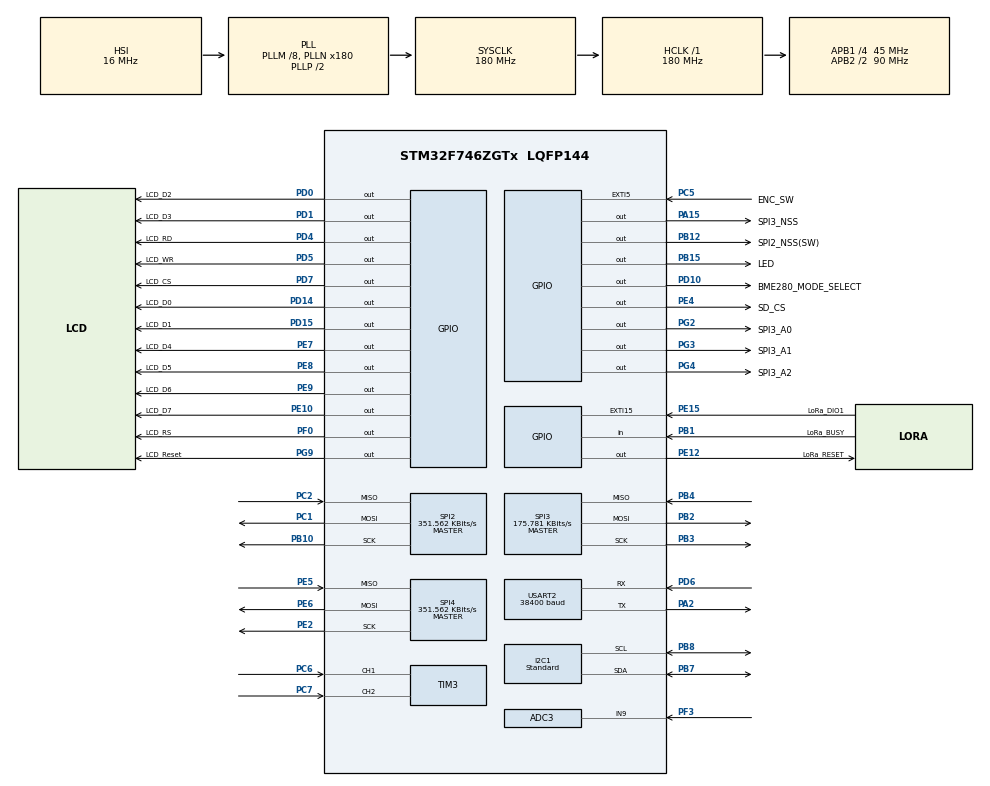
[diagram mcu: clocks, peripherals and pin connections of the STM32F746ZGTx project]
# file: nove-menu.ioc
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ADC3.Channel-0\#ChannelRegularConversion=ADC_CHANNEL_9
ADC3.ClockPrescaler=ADC_CLOCK_SYNC_PCLK_DIV4
ADC3.NbrOfConversionFlag=1
ADC3.Rank-0\#ChannelRegularConversion=1
ADC3.SamplingTime-0\#ChannelRegularConversion=ADC_SAMPLETIME_3CYCLES
CORTEX_M7.default_mode_Activation=1
I2C1.I2C_Speed_Mode=I2C_Standard
I2C1.Timing=0xC0000E12
Mcu.Family=STM32F7
Mcu.Name=STM32F746ZGTx
Mcu.Package=LQFP144
NVIC.EXTI15_10_IRQn=true\:0\:0\:false\:false\:true\:true\:true\:true
NVIC.EXTI9_5_IRQn=true\:0\:0\:false\:false\:true\:true\:true\:true
NVIC.PriorityGroup=NVIC_PRIORITYGROUP_4
NVIC.TIM1_TRG_COM_TIM11_IRQn=true\:0\:0\:false\:false\:true\:true\:true\:true
NVIC.TIM2_IRQn=true\:0\:0\:false\:false\:true\:true\:true\:true
NVIC.USART2_IRQn=true\:0\:0\:false\:false\:true\:true\:true\:true
PA15.GPIO_Label=SPI3_NSS
PA15.Signal=GPIO_Output
PA2.Mode=Asynchronous
PA2.Signal=USART2_TX
PB1.GPIO_Label=LoRa_BUSY
PB1.Signal=GPIO_Input
PB10.Mode=Full_Duplex_Master
PB10.Signal=SPI2_SCK
PB12.GPIO_Label=SPI2_NSS(SW)
PB12.Signal=GPIO_Output
PB15.GPIO_Label=LED
PB15.Signal=GPIO_Output
PB2.Mode=Full_Duplex_Master
PB2.Signal=SPI3_MOSI
PB3.Mode=Full_Duplex_Master
PB3.Signal=SPI3_SCK
PB4.Mode=Full_Duplex_Master
PB4.Signal=SPI3_MISO
PB7.Mode=I2C
PB7.Signal=I2C1_SDA
PB8.Mode=I2C
PB8.Signal=I2C1_SCL
PC1.Mode=Full_Duplex_Master
PC1.Signal=SPI2_MOSI
PC2.Mode=Full_Duplex_Master
PC2.Signal=SPI2_MISO
PC5.GPIO_Label=ENC_SW
PC5.GPIO_ModeDefaultEXTI=GPIO_MODE_IT_FALLING
PC5.GPIO_PuPd=GPIO_PULLUP
PC5.Signal=GPXTI5
PC6.Signal=S_TIM3_CH1
PC7.Signal=S_TIM3_CH2
PD0.GPIO_Label=LCD_D2
PD0.GPIO_ModeDefaultOutputPP=GPIO_MODE_OUTPUT_PP
PD0.GPIO_PuPd=GPIO_NOPULL
PD0.GPIO_Speed=GPIO_SPEED_FREQ_VERY_HIGH
PD0.PinState=GPIO_PIN_SET
PD0.Signal=GPIO_Output
PD1.GPIO_Label=LCD_D3
PD1.GPIO_ModeDefaultOutputPP=GPIO_MODE_OUTPUT_PP
PD1.GPIO_PuPd=GPIO_NOPULL
PD1.GPIO_Speed=GPIO_SPEED_FREQ_VERY_HIGH
PD1.PinState=GPIO_PIN_SET
PD1.Signal=GPIO_Output
PD10.GPIO_Label=BME280_MODE_SELECT
PD10.Signal=GPIO_Output
PD14.GPIO_Label=LCD_D0
PD14.GPIO_ModeDefaultOutputPP=GPIO_MODE_OUTPUT_PP
PD14.GPIO_PuPd=GPIO_NOPULL
PD14.GPIO_Speed=GPIO_SPEED_FREQ_VERY_HIGH
PD14.PinState=GPIO_PIN_SET
PD14.Signal=GPIO_Output
PD15.GPIO_Label=LCD_D1
PD15.GPIO_ModeDefaultOutputPP=GPIO_MODE_OUTPUT_PP
PD15.GPIO_PuPd=GPIO_NOPULL
PD15.GPIO_Speed=GPIO_SPEED_FREQ_VERY_HIGH
PD15.PinState=GPIO_PIN_SET
PD15.Signal=GPIO_Output
PD4.GPIO_Label=LCD_RD
PD4.GPIO_ModeDefaultOutputPP=GPIO_MODE_OUTPUT_PP
PD4.GPIO_PuPd=GPIO_NOPULL
PD4.GPIO_Speed=GPIO_SPEED_FREQ_VERY_HIGH
PD4.PinState=GPIO_PIN_SET
PD4.Signal=GPIO_Output
PD5.GPIO_Label=LCD_WR
PD5.GPIO_ModeDefaultOutputPP=GPIO_MODE_OUTPUT_PP
PD5.GPIO_PuPd=GPIO_NOPULL
PD5.GPIO_Speed=GPIO_SPEED_FREQ_VERY_HIGH
PD5.PinState=GPIO_PIN_SET
PD5.Signal=GPIO_Output
PD6.Mode=Asynchronous
PD6.Signal=USART2_RX
PD7.GPIO_Label=LCD_CS
PD7.GPIO_ModeDefaultOutputPP=GPIO_MODE_OUTPUT_PP
PD7.GPIO_PuPd=GPIO_NOPULL
PD7.GPIO_Speed=GPIO_SPEED_FREQ_VERY_HIGH
PD7.PinState=GPIO_PIN_SET
PD7.Signal=GPIO_Output
PE10.GPIO_Label=LCD_D7
PE10.GPIO_ModeDefaultOutputPP=GPIO_MODE_OUTPUT_PP
PE10.GPIO_PuPd=GPIO_NOPULL
PE10.GPIO_Speed=GPIO_SPEED_FREQ_VERY_HIGH
PE10.PinState=GPIO_PIN_SET
PE10.Signal=GPIO_Output
PE12.GPIO_Label=LoRa_RESET
PE12.Signal=GPIO_Output
PE15.GPIO_Label=LoRa_DIO1
PE15.GPIO_ModeDefaultEXTI=GPIO_MODE_IT_RISING
PE15.GPIO_PuPd=GPIO_NOPULL
PE15.Signal=GPXTI15
PE2.GPIO_PuPd=GPIO_PULLUP
PE2.Mode=Full_Duplex_Master
PE2.Signal=SPI4_SCK
PE4.GPIO_Label=SD_CS
PE4.GPIO_PuPd=GPIO_PULLUP
PE4.PinState=GPIO_PIN_SET
PE4.Signal=GPIO_Output
PE5.GPIO_PuPd=GPIO_PULLUP
PE5.Mode=Full_Duplex_Master
PE5.Signal=SPI4_MISO
PE6.GPIO_PuPd=GPIO_PULLUP
PE6.Mode=Full_Duplex_Master
PE6.Signal=SPI4_MOSI
PE7.GPIO_Label=LCD_D4
PE7.GPIO_ModeDefaultOutputPP=GPIO_MODE_OUTPUT_PP
PE7.GPIO_PuPd=GPIO_NOPULL
PE7.GPIO_Speed=GPIO_SPEED_FREQ_VERY_HIGH
PE7.PinState=GPIO_PIN_SET
PE7.Signal=GPIO_Output
PE8.GPIO_Label=LCD_D5
PE8.GPIO_ModeDefaultOutputPP=GPIO_MODE_OUTPUT_PP
PE8.GPIO_PuPd=GPIO_NOPULL
PE8.GPIO_Speed=GPIO_SPEED_FREQ_VERY_HIGH
PE8.PinState=GPIO_PIN_SET
PE8.Signal=GPIO_Output
PE9.GPIO_Label=LCD_D6
PE9.GPIO_ModeDefaultOutputPP=GPIO_MODE_OUTPUT_PP
PE9.GPIO_PuPd=GPIO_NOPULL
PE9.GPIO_Speed=GPIO_SPEED_FREQ_VERY_HIGH
PE9.PinState=GPIO_PIN_SET
PE9.Signal=GPIO_Output
PF0.GPIO_Label=LCD_RS
PF0.GPIO_ModeDefaultOutputPP=GPIO_MODE_OUTPUT_PP
PF0.GPIO_PuPd=GPIO_NOPULL
PF0.GPIO_Speed=GPIO_SPEED_FREQ_VERY_HIGH
PF0.PinState=GPIO_PIN_SET
PF0.Signal=GPIO_Output
PF3.Mode=IN9
PF3.Signal=ADC3_IN9
PG2.GPIO_Label=SPI3_A0
PG2.Signal=GPIO_Output
PG3.GPIO_Label=SPI3_A1
PG3.Signal=GPIO_Output
PG4.GPIO_Label=SPI3_A2
PG4.Signal=GPIO_Output
PG9.GPIO_Label=LCD_Reset
PG9.GPIO_ModeDefaultOutputPP=GPIO_MODE_OUTPUT_PP
PG9.GPIO_PuPd=GPIO_NOPULL
PG9.GPIO_Speed=GPIO_SPEED_FREQ_VERY_HIGH
PG9.PinState=GPIO_PIN_SET
PG9.Signal=GPIO_Output
ProjectManager.HeapSize=0x200
ProjectManager.StackSize=0x400
ProjectManager.TargetToolchain=STM32CubeIDE
RCC.AHBFreq_Value=180000000
RCC.APB1CLKDivider=RCC_HCLK_DIV4
RCC.APB1Freq_Value=45000000
RCC.APB1TimFreq_Value=90000000
RCC.APB2CLKDivider=RCC_HCLK_DIV2
RCC.APB2Freq_Value=90000000
RCC.APB2TimFreq_Value=180000000
RCC.CortexFreq_Value=180000000
RCC.HCLKFreq_Value=180000000
RCC.HSE_VALUE=25000000
RCC.HSI_VALUE=16000000
RCC.LSE_VALUE=32768
RCC.PLLM=8
RCC.PLLN=180
RCC.SYSCLKFreq_VALUE=180000000
RCC.SYSCLKSource=RCC_SYSCLKSOURCE_PLLCLK
RCC.USBFreq_Value=180000000
RCC.VCOOutputFreq_Value=360000000
SH.S_TIM3_CH1.0=TIM3_CH1,Encoder_Interface
SH.S_TIM3_CH2.0=TIM3_CH2,Encoder_Interface
SPI2.BaudRatePrescaler=SPI_BAUDRATEPRESCALER_128
SPI2.CalculateBaudRate=351.562 KBits/s
SPI2.DataSize=SPI_DATASIZE_8BIT
SPI2.Direction=SPI_DIRECTION_2LINES
SPI2.Mode=SPI_MODE_MASTER
SPI2.VirtualType=VM_MASTER
SPI3.BaudRatePrescaler=SPI_BAUDRATEPRESCALER_256
SPI3.CalculateBaudRate=175.781 KBits/s
SPI3.DataSize=SPI_DATASIZE_8BIT
SPI3.Direction=SPI_DIRECTION_2LINES
SPI3.Mode=SPI_MODE_MASTER
SPI3.VirtualType=VM_MASTER
SPI4.BaudRatePrescaler=SPI_BAUDRATEPRESCALER_256
SPI4.CalculateBaudRate=351.562 KBits/s
SPI4.DataSize=SPI_DATASIZE_8BIT
SPI4.Direction=SPI_DIRECTION_2LINES
SPI4.Mode=SPI_MODE_MASTER
SPI4.VirtualType=VM_MASTER
TIM11.ClockDivision=TIM_CLOCKDIVISION_DIV1
TIM11.Period=10000-1
TIM11.Prescaler=18000-1
TIM13.Period=999
TIM13.Prescaler=179
TIM2.ClockDivision=TIM_CLOCKDIVISION_DIV1
TIM2.Period=30000-1
TIM2.Prescaler=32000-1
TIM2.TIM_MasterOutputTrigger=TIM_TRGO_OC1
USART2.BaudRate=38400
USART2.VirtualMode-Asynchronous=VM_ASYNC
VP_FATFS_VS_Generic.Mode=User_defined
VP_TIM11_VS_ClockSourceINT.Mode=Enable_Timer
VP_TIM13_VS_ClockSourceINT.Mode=Enable_Timer
VP_TIM2_VS_ClockSourceINT.Mode=Internal
board=custom

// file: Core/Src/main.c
/* USER CODE BEGIN Header */
/**
  ******************************************************************************
  * @file           : main.c
  * @brief          : Main program body
  ******************************************************************************
  * @attention
  *
  * Copyright (c) 2026 STMicroelectronics.
  * All rights reserved.
  *
  * This software is licensed under terms that can be found in the LICENSE file
  * in the root directory of this software component.
  * If no LICENSE file comes with this software, it is provided AS-IS.
  *
  ******************************************************************************
  */
/* USER CODE END Header */
#include "main.h"
#include "adc.h"
#include "fatfs.h"
#include "i2c.h"
#include "spi.h"
#include "tim.h"
#include "usart.h"
#include "gpio.h"

/* USER CODE BEGIN Includes */
#include "stm32_adafruit_lcd.h"
#include "ssd1306.h"
#include "stdio.h"
#include "string.h"
#include "stdarg.h" // For va_list var arg functions
#include "stdbool.h"
#include "sd.h"

/* Komunikace */
#include "lora.h"

/* Senzory */
#include "bme280.h"
#include "gps.h"

/* Stránky */
#include "hlavni_menu.h"
#include "atmosfera.h"
/* USER CODE END Includes */

/* USER CODE BEGIN PV */
extern bool pripojeno;
bool previousPripojeno;
uint16_t ping = 9999;

Cas predchozi_cas = {2026, 4, 15, 14, 39, 2}; // Čas při předchozí aktualizace hodin
extern Cas cas;

uint16_t predchozi_pozice_vyberu = 0;
uint16_t pozice_vyberu = 0;
uint16_t max_pozice_vyberu = 10;

int32_t teplota;
uint32_t vlhkost, tlak;

int32_t teplota_venku;
uint32_t vlhkost_venku, tlak_venku;

bool stisknuto = 0; // Zda bylo stisknuto tlačítko na rotačním enkodéru

extern bool sd_karta_pripojena;
extern uint32_t kapacita_sd_karty;
extern uint32_t zaplneni_sd_karty;

uint8_t strana = 0;

const char nazvy_mesicu[12][10] = {
	{0x6C, 0x65, 0x64, 0x6E, 0x61, 0x00},							// "ledna"
	{0xFA, 0x6E, 0x6F, 0x72, 0x61, 0x00},							// "února"
	{0x62, 0xF8, 0x65, 0x7A, 0x6E, 0x61, 0x00},						// "března"
	{0x64, 0x75, 0x62, 0x6E, 0x61, 0x00},							// "dubna"
	{0x6B, 0x76, 0xEC, 0x74, 0x6E, 0x61, 0x00},						// "května"
	{0xE8, 0x65, 0x72, 0x76, 0x6E, 0x61, 0x00},						// "června"
	{0xE8, 0x65, 0x72, 0x76, 0x65, 0x6E, 0x63, 0x65, 0x00},			// "července"
	{0x73, 0x72, 0x70, 0x6E, 0x61, 0x00},							// "srpna"
	{0x7A, 0xE1, 0xF8, 0xED, 0x00},									// "září"
	{0xF8, 0xED, 0x6A, 0x6E, 0x61, 0x00},							// "října"
	{0x6C, 0x69, 0x73, 0x74, 0x6F, 0x70, 0x61, 0x64, 0x75, 0x00},	// "listopadu"
	{0x70, 0x72, 0x6F, 0x73, 0x69, 0x6E, 0x63, 0x65, 0x00}			// "prosince"
};
/*
 * 0 - hlavní menu
 */

char debug[500];

extern bool can_send_data; // Zda LoRa může posílat data

uint8_t lora_data[DATA_LEN]; // Data pro odeslání

extern bool jednotka_ma_gps;
extern bool jednotka_ziskala_cas_z_gps;

bool mereni = false; // Zda se MCU má ptát senzorů na aktuální hodnoty
bool je_cas_zapsat_log = false;
// Měří se každou sekundu
// Omezení je z důvodu přehřívání senzorů
/* USER CODE END PV */

void SystemClock_Config(void);
static void MPU_Config(void);
/* USER CODE BEGIN PFP */
void aktualizujCas(Cas *cas);
void aktualizujPoziciVyberu(void);
void tlacitkoStisknuto(void);
void pridatChecksum(uint8_t data[], size_t data_len);
void pripravitDataProOdeslani(void);
bool zkontrolovatChecksum(uint8_t data[], size_t data_len);
/* USER CODE END PFP */

/* USER CODE BEGIN 0 */
void aktualizujCas(Cas *cas) {
	/* Tato funkce se spustí každou sekundu, vždy aktualizuje proměnnou cas */
	cas->sekundy ++;

	if (cas->sekundy >= 60) {
		cas->sekundy = 0;
		cas->minuty ++;

		if (cas->minuty >= 60) {
			cas->minuty = 0;
			cas->hodiny ++;

			if (cas->hodiny >= 24) {
				cas->hodiny = 0;
				cas->den ++;

				if (
					(cas->den >= 31 && (		// Měsíce se 31 dny
						cas->mesic == 1 ||		// Leden
						cas->mesic == 3 ||		// Březen
						cas->mesic == 5 || 		// Květen
						cas->mesic == 7 ||		// Červenec
						cas->mesic == 8 ||		// Srpen
						cas->mesic == 10 ||		// Říjen
						cas->mesic == 12		// Prosinec
					)) ||
					(cas->den > 30 && (			// Měsíce se 30 dny
						cas->mesic == 4 ||		// Duben
						cas->mesic == 6 ||		// Červen
						cas->mesic == 9 || 		// Září
						cas->mesic == 11		// Listopad
					)) ||
					(cas->den >= 29 && cas->rok % 4 == 0 && cas->rok % 100 != 0 && cas->rok % 400 == 0) ||	// Únor v přestupném roku
					cas->den >= 28																			// Únor v nepřestupném roku
				) {
					cas->den = 0;
					cas->mesic ++;

					if (cas->mesic >= 13) {
						cas->mesic = 1;
						cas->rok ++;
					}
				}
			}
		}
	}
}

void aktualizujPoziciVyberu(void) {
	if (TIM3->CNT % 2 == 0 && TIM3->CNT != pozice_vyberu * 2) {
		predchozi_pozice_vyberu = pozice_vyberu;

		if (TIM3->CNT > 65000) { // Underflow
			TIM3->CNT = (max_pozice_vyberu + 1) * 2 - ((65536 - TIM3->CNT) % ((max_pozice_vyberu + 1) * 2));
		}

		if (TIM3->CNT > max_pozice_vyberu * 2) {
			TIM3->CNT = TIM3->CNT % ((max_pozice_vyberu + 1) * 2);
		}

		pozice_vyberu = TIM3->CNT / 2;

		if (strana == 0) {
			aktualizujPoziciVyberuVHlavnimMenu(predchozi_pozice_vyberu, pozice_vyberu);
		}

		/* Vypíše na debug displej */
		char pozice_vyberu_buffer[6];
		snprintf(pozice_vyberu_buffer, 6, "%d", pozice_vyberu);

		ssd1306_SetCursor(122, 0);
		ssd1306_WriteString(pozice_vyberu_buffer, &Terminus12Bold, 1);
		ssd1306_UpdateScreen();
	}
}

void tlacitkoStisknuto(void) {
	ssd1306_SetCursor(122, 13);
	ssd1306_WriteString("1", &Terminus12Bold, 1);
	ssd1306_UpdateScreen(); // Vykreslí na OLED displej

	if (strana == 0) {
		if (pozice_vyberu == 0) {
			strana = 1;
			vykresliStrankuAtmosfera(&predchozi_pozice_vyberu, &pozice_vyberu, &max_pozice_vyberu);
		}
	}
	else if (strana == 1) {
		if (pozice_vyberu == 0) {
			strana = 0;
			vykresliHlavniMenu(pripojeno, ping, cas, &predchozi_pozice_vyberu, &pozice_vyberu, &max_pozice_vyberu);
		}
	}

	ssd1306_SetCursor(122, 13);
	ssd1306_WriteString("0", &Terminus12Bold, 1);
	ssd1306_UpdateScreen(); // Vykreslí na OLED displej
}

void pridatChecksum(uint8_t data[], size_t data_len) {
	uint8_t crc = 0;

	for (size_t i = 0; i < data_len - 1; i ++) {
		crc ^= data[i];
	}

	data[data_len - 1] = crc;
}

void pripravitDataProOdeslani() {
	memset(lora_data, 0, DATA_LEN); // Vynuluje data pro odeslání

	if (jednotka_ziskala_cas_z_gps) {
		lora_data[0] = (cas.rok >> 8) & 0xFF; // MSB
		lora_data[1] = cas.rok & 0xFF; // LSB

		lora_data[2] = cas.mesic;
		lora_data[3] = cas.den;

		lora_data[4] = cas.hodiny;
		lora_data[5] = cas.minuty;
		lora_data[6] = cas.sekundy;
	}

	lora_data[7] = (teplota >> 24) & 0xFF; // MSB
	lora_data[8]  = (teplota >> 16) & 0xFF;
	lora_data[9] = (teplota >> 8)  & 0xFF;
	lora_data[10] = teplota & 0xFF;         // LSB

	lora_data[11] = (vlhkost >> 24) & 0xFF; // MSB
	lora_data[12]  = (vlhkost >> 16) & 0xFF;
	lora_data[13] = (vlhkost >> 8)  & 0xFF;
	lora_data[14] = vlhkost & 0xFF;         // LSB

	lora_data[15] = (tlak >> 24) & 0xFF; // MSB
	lora_data[16]  = (tlak >> 16) & 0xFF;
	lora_data[17] = (tlak >> 8)  & 0xFF;
	lora_data[18] = tlak & 0xFF;         // LSB

	pridatChecksum(lora_data, DATA_LEN);

	LoRa_set_data(lora_data, sizeof(lora_data));
}

bool zkontrolovatChecksum(uint8_t data[], size_t data_len) {
	uint8_t crc = 0;

	for (size_t i = 0; i < data_len - 1; i ++) {
		crc ^= data[i];
	}

	if (data[data_len - 1] == crc) {
		return true; // Checksum sedí
	}
	else {
		return false; // Checksum nesedí
	}
}

void LoRa_Rx_callback(uint8_t data_received[], uint8_t len) {
	if (!zkontrolovatChecksum(data_received, len)) {
		// Checksum nesedí
		// TODO: Error handling
	}

	if (!jednotka_ma_gps && (data_received[0] != 0 || data_received[1] != 0 || data_received[2] != 0 || data_received[3] != 0 || data_received[4] != 0 || data_received[5] != 0 || data_received[6] != 0)) {
		cas.rok =
			((uint16_t)data_received[0] << 8) |
			((uint16_t)data_received[1]);

		cas.mesic = (uint8_t)data_received[2];
		cas.den = (uint8_t)data_received[3];

		cas.hodiny = (uint8_t)data_received[4];
		cas.minuty = (uint8_t)data_received[5];
		cas.sekundy = (uint8_t)data_received[6];
	}

	teplota_venku =
		(int32_t)(
			((uint32_t)data_received[7] << 24) |
			((uint32_t)data_received[8] << 16) |
			((uint32_t)data_received[9] << 8)  |
			((uint32_t)data_received[10])
		);

	vlhkost_venku =
		((uint32_t)data_received[11] << 24) |
		((uint32_t)data_received[12] << 16) |
		((uint32_t)data_received[13] << 8)  |
		((uint32_t)data_received[14]);

	tlak_venku =
		((uint32_t)data_received[15] << 24) |
		((uint32_t)data_received[16] << 16) |
		((uint32_t)data_received[17] << 8)  |
		((uint32_t)data_received[18]);
}
/* USER CODE END 0 */

int main(void)
{

  /* MPU Configuration--------------------------------------------------------*/
  MPU_Config();

  /* MCU Configuration--------------------------------------------------------*/

  /* Reset of all peripherals, Initializes the Flash interface and the Systick. */
  HAL_Init();

  /* USER CODE BEGIN Init */
  HAL_Delay(2000); // Počká, než se všechny periferie inicializují a jsou schopné komunikovat.
  /* USER CODE END Init */

  /* Configure the system clock */
  SystemClock_Config();

  /* Initialize all configured peripherals */
  MX_GPIO_Init();
  MX_ADC3_Init();
  MX_TIM3_Init();
  MX_I2C1_Init();
  MX_SPI4_Init();
  MX_FATFS_Init();
  MX_TIM13_Init();
  MX_TIM2_Init();
  MX_SPI3_Init();
  MX_SPI2_Init();
  MX_TIM11_Init();
  MX_USART2_UART_Init();
  /* USER CODE BEGIN 2 */
  LoRa_init();
  gps_init();

  HAL_ADC_Start(&hadc3);

  if (BSP_LCD_Init() != LCD_OK) {
  	Error_Handler(); // Inicializace LCD selhala
  	return 1;
  }

  ssd1306_Init(); // Inicializace OLED displeje

  /* Inicializace BME280 */
  if (BME280_Config(OSRS_16, OSRS_16, OSRS_16, MODE_NORMAL, T_SB_1000, IIR_16) != 0) {
	  Error_Handler();
  }

  /* Debug pozice výběru */
  char pozice_vyberu_text[] = {
	0x50, 0x6F, 0x7A, 0x69, 0x63, 0x65, 0x20, 0x76, 0xFD, 0x62, 0xEC, 0x72, 0x75, 0x3A, 0x00,  // "Pozice výběru:"
  };

  ssd1306_SetCursor(0, 0);
  ssd1306_WriteString(pozice_vyberu_text, &Terminus12Normal, 1);

  ssd1306_SetCursor(122, 0);
  ssd1306_WriteString("0", &Terminus12Bold, 1); // Počáteční pozice výběru je vždy 0

  /* Debug stisknuto */
  char stisknuto_text[] = {
    0x53, 0x74, 0x69, 0x73, 0x6B, 0x6E, 0x75, 0x74, 0x6F, 0x3A, 0x00,  // "Stisknuto:"
  };

  ssd1306_SetCursor(0, 13);
  ssd1306_WriteString(stisknuto_text, &Terminus12Normal, 1);

  ssd1306_SetCursor(122, 13);
  ssd1306_WriteString("0", &Terminus12Bold, 1);

  ssd1306_UpdateScreen(); // Vykreslí na OLED displej

  vykresliHlavniMenu(pripojeno, ping, cas, &predchozi_pozice_vyberu, &pozice_vyberu, &max_pozice_vyberu);

  stavSD();

  HAL_TIM_Base_Start_IT(&htim11); // Inicializace timeru pro přerušení každou sekundu
  HAL_TIM_Encoder_Start(&htim3, TIM_CHANNEL_ALL); // Inicializace timeru k rotačnímu enkodéru
  TIM3->CNT = 0; // Počáteční vynulování
  /* USER CODE END 2 */

  /* Infinite loop */
  /* USER CODE BEGIN WHILE */
  while (1)
  {

	  if (mereni) {
		  BME280_Measure(&teplota, &vlhkost, &tlak);
		  pripravitDataProOdeslani();
		  mereni = false;
	  }

	  LoRa_loop();
	  gps_loop();

	  aktualizujPoziciVyberu();
	  if (stisknuto == 1) {
		  stisknuto = 0;
		  tlacitkoStisknuto();
	  }

	  stavSD();
	  if (je_cas_zapsat_log) {
		  char teplota_hodnota_text[20];
		  char vlhkost_hodnota_text[20];
		  char tlak_hodnota_text[20];

		  char teplota_venku_hodnota_text[20];
		  char vlhkost_venku_hodnota_text[20];
		  char tlak_venku_hodnota_text[20];

		  konverzeNamerenychHodnotSigned(teplota, 100, 2, teplota_hodnota_text, sizeof(teplota_hodnota_text));
		  konverzeNamerenychHodnotUnsigned(vlhkost, 1024, 3, vlhkost_hodnota_text, sizeof(vlhkost_hodnota_text));
		  konverzeNamerenychHodnotUnsigned(tlak, 256, 1, tlak_hodnota_text, sizeof(tlak_hodnota_text));

		  konverzeNamerenychHodnotSigned(teplota_venku, 100, 2, teplota_venku_hodnota_text, sizeof(teplota_venku_hodnota_text));
		  konverzeNamerenychHodnotUnsigned(vlhkost_venku, 1024, 3, vlhkost_venku_hodnota_text, sizeof(vlhkost_venku_hodnota_text));
		  konverzeNamerenychHodnotUnsigned(tlak_venku, 256, 1, tlak_venku_hodnota_text, sizeof(tlak_venku_hodnota_text));

		  char log[170];
	  	  snprintf(log, 170, "%02d.%02d.%04d;%02d:%02d:%02d;%s;%s;%s;%s;%s;%s\n", cas.den, cas.mesic, cas.rok, cas.hodiny, cas.minuty, cas.sekundy, teplota_hodnota_text, vlhkost_hodnota_text, tlak_hodnota_text, teplota_venku_hodnota_text, vlhkost_venku_hodnota_text, tlak_venku_hodnota_text);
	  	  zapsatLog("atm.csv", log);

	  	  je_cas_zapsat_log = false;
	  }

	  if (strana == 0) { // Hlavní menu
		  if (previousPripojeno != pripojeno) { aktualizujStavPripojeni(pripojeno); previousPripojeno = pripojeno; }
		  aktualizujHodinyVHlavnimMenu(cas, &predchozi_cas);
		  aktualizujStavSDKartyVHlavnimMenu(sd_karta_pripojena, kapacita_sd_karty, zaplneni_sd_karty);
	  }
	  if (strana == 1) { // Atmosféra
		  aktualizujHodnotyNaStranceAtmosfera(teplota, vlhkost, tlak, teplota_venku, vlhkost_venku, tlak_venku);
	  }
    /* USER CODE END WHILE */

  }
}

void SystemClock_Config(void)
{
  RCC_OscInitTypeDef RCC_OscInitStruct = {0};
  RCC_ClkInitTypeDef RCC_ClkInitStruct = {0};

  /** Configure the main internal regulator output voltage
  */
  __HAL_RCC_PWR_CLK_ENABLE();
  __HAL_PWR_VOLTAGESCALING_CONFIG(PWR_REGULATOR_VOLTAGE_SCALE1);

  /** Initializes the RCC Oscillators according to the specified parameters
  * in the RCC_OscInitTypeDef structure.
  */
  RCC_OscInitStruct.OscillatorType = RCC_OSCILLATORTYPE_HSI;
  RCC_OscInitStruct.HSIState = RCC_HSI_ON;
  RCC_OscInitStruct.HSICalibrationValue = RCC_HSICALIBRATION_DEFAULT;
  RCC_OscInitStruct.PLL.PLLState = RCC_PLL_ON;
  RCC_OscInitStruct.PLL.PLLSource = RCC_PLLSOURCE_HSI;
  RCC_OscInitStruct.PLL.PLLM = 8;
  RCC_OscInitStruct.PLL.PLLN = 180;
  RCC_OscInitStruct.PLL.PLLP = RCC_PLLP_DIV2;
  RCC_OscInitStruct.PLL.PLLQ = 2;
  if (HAL_RCC_OscConfig(&RCC_OscInitStruct) != HAL_OK)
  {
    Error_Handler();
  }

  /** Initializes the CPU, AHB and APB buses clocks
  */
  RCC_ClkInitStruct.ClockType = RCC_CLOCKTYPE_HCLK|RCC_CLOCKTYPE_SYSCLK
                              |RCC_CLOCKTYPE_PCLK1|RCC_CLOCKTYPE_PCLK2;
  RCC_ClkInitStruct.SYSCLKSource = RCC_SYSCLKSOURCE_PLLCLK;
  RCC_ClkInitStruct.AHBCLKDivider = RCC_SYSCLK_DIV1;
  RCC_ClkInitStruct.APB1CLKDivider = RCC_HCLK_DIV4;
  RCC_ClkInitStruct.APB2CLKDivider = RCC_HCLK_DIV2;

  if (HAL_RCC_ClockConfig(&RCC_ClkInitStruct, FLASH_LATENCY_5) != HAL_OK)
  {
    Error_Handler();
  }
}

/* USER CODE BEGIN 4 */
void HAL_GPIO_EXTI_Callback(uint16_t GPIO_Pin) {
	if (GPIO_Pin == ENC_SW_Pin) {
		stisknuto = 1;
	}
	if (GPIO_Pin == LoRa_DIO1_Pin) {
		LoRa_DIO1_interrupt_handler();
	}
}

void HAL_TIM_PeriodElapsedCallback(TIM_HandleTypeDef *htim) {
	if (htim->Instance == TIM2) {
		LoRa_TIM2_interrupt_handler();
	}

    if (htim->Instance == TIM11) {
        // Kód, který se spustí každou sekundu:
    	mereni = true;
    	aktualizujCas(&cas);
    	if (cas.sekundy == 0) {
    		je_cas_zapsat_log = true;
    	}
    }
}

void HAL_UART_RxCpltCallback(UART_HandleTypeDef *huart) {
	if (huart->Instance == USART2) {
		gps_UART_RxCpltCallback_handler();
	}
}
/* USER CODE END 4 */

 /* MPU Configuration */

void MPU_Config(void)
{
  MPU_Region_InitTypeDef MPU_InitStruct = {0};

  /* Disables the MPU */
  HAL_MPU_Disable();

  /** Initializes and configures the Region and the memory to be protected
  */
  MPU_InitStruct.Enable = MPU_REGION_ENABLE;
  MPU_InitStruct.Number = MPU_REGION_NUMBER0;
  MPU_InitStruct.BaseAddress = 0x0;
  MPU_InitStruct.Size = MPU_REGION_SIZE_4GB;
  MPU_InitStruct.SubRegionDisable = 0x87;
  MPU_InitStruct.TypeExtField = MPU_TEX_LEVEL0;
  MPU_InitStruct.AccessPermission = MPU_REGION_NO_ACCESS;
  MPU_InitStruct.DisableExec = MPU_INSTRUCTION_ACCESS_DISABLE;
  MPU_InitStruct.IsShareable = MPU_ACCESS_SHAREABLE;
  MPU_InitStruct.IsCacheable = MPU_ACCESS_NOT_CACHEABLE;
  MPU_InitStruct.IsBufferable = MPU_ACCESS_NOT_BUFFERABLE;

  HAL_MPU_ConfigRegion(&MPU_InitStruct);
  /* Enables the MPU */
  HAL_MPU_Enable(MPU_PRIVILEGED_DEFAULT);

}

void Error_Handler(void)
{
  __disable_irq();
  while (1)
  {
  }
}
